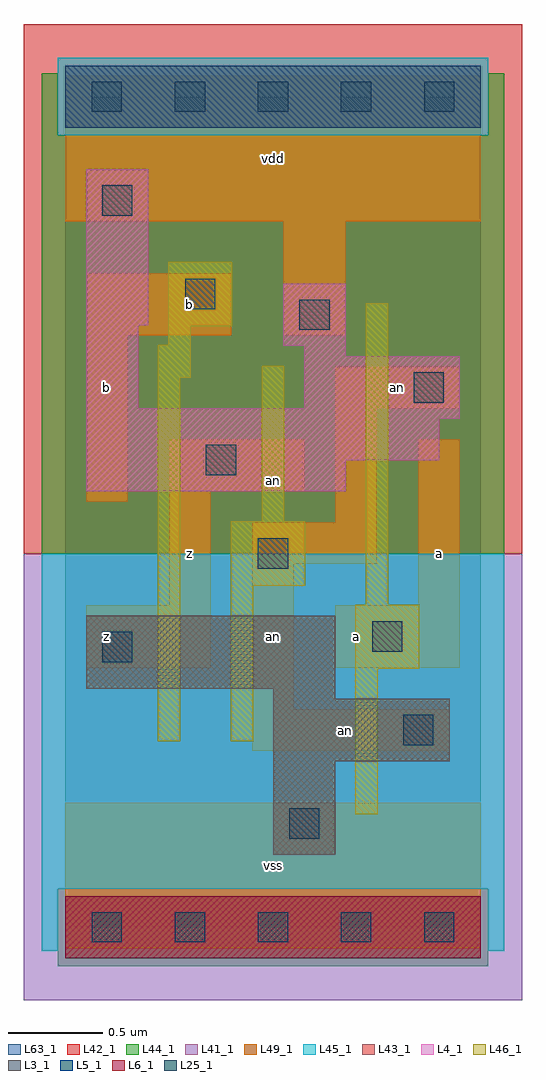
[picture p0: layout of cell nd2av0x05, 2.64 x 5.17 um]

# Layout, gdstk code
import gdstk
lib = gdstk.Library(unit=1e-6, precision=1e-09)
def R(c, l, rs):  # rectangles x0, y0, x1, y1
    for r in rs: c.add(gdstk.rectangle(r[:2], r[2:], *l))
def A(c, l, x, y, w, h, nx, ny, dx, dy):  # array of equal rectangles
    R(c, l, [(x+i*dx, y+j*dy, x+i*dx+w, y+j*dy+h) for i in range(nx) for j in range(ny)])
L3_1 = (3, 1)
L4_1 = (4, 1)
L5_1 = (5, 1)
L6_1 = (6, 1)
L25_1 = (25, 1)
L41_1 = (41, 1)
L42_1 = (42, 1)
L43_1 = (43, 1)
L44_1 = (44, 1)
L45_1 = (45, 1)
L46_1 = (46, 1)
L49_1 = (49, 1)
L63_1 = (63, 1)

nd2av0x05 = lib.new_cell('nd2av0x05')
R(nd2av0x05, L3_1, [(1.1,0.385,1.43,0.88), (1.1,0.88,2.035,1.21), (1.1,1.21,1.43,1.265), (0.11,1.265,1.43,1.65)])
R(nd2av0x05, L4_1, [(0.11,2.31,1.485,2.475), (0.11,2.475,1.98,2.695), (0.11,2.695,2.09,2.75), (0.11,2.75,0.385,3.19), (1.265,2.75,2.09,3.025), (1.265,3.025,1.485,3.08), (1.155,3.08,1.485,3.41), (0.11,3.19,0.44,4.015)])
R(nd2av0x05, L5_1, [(0,4.235,2.2,4.565)])
R(nd2av0x05, L6_1, [(0,-0.165,2.2,0.165)])
A(nd2av0x05, L25_1, 0.14, -0.08, 0.16, 0.16, 5, 2, 0.44, 4.4)
R(nd2av0x05, L25_1, [(1.185,0.47,1.345,0.63), (1.79,0.965,1.95,1.125), (0.195,1.405,0.355,1.565), (1.625,1.46,1.785,1.62), (1.02,1.9,1.18,2.06), (0.745,2.395,0.905,2.555), (1.845,2.78,2.005,2.94), (1.24,3.165,1.4,3.325), (0.635,3.275,0.795,3.435), (0.195,3.77,0.355,3.93)])
R(nd2av0x05, L41_1, [(-0.22,-0.385,2.42,1.98)])
R(nd2av0x05, L42_1, [(-0.22,1.98,2.42,4.785)])
R(nd2av0x05, L43_1, [(0,-0.165,2.2,0.165), (1.1,0.385,1.43,0.88), (1.1,0.88,2.035,1.21), (1.1,1.21,1.43,1.265), (0.11,1.265,1.43,1.65), (0.11,2.31,1.485,2.475), (0.11,2.475,1.98,2.695), (0.11,2.695,2.09,2.75), (0.11,2.75,0.385,3.19), (1.265,2.75,2.09,3.025), (1.265,3.025,1.485,3.08), (1.155,3.08,1.485,3.41), (0.11,3.19,0.44,4.015), (0,4.235,2.2,4.565)])
R(nd2av0x05, L44_1, [(-0.04,-0.205,2.24,0.205), (-0.125,1.98,2.325,4.195), (-0.125,4.195,-0.04,4.525), (2.24,4.195,2.325,4.525)])
R(nd2av0x05, L45_1, [(-0.125,-0.125,-0.04,0.205), (2.24,-0.125,2.325,0.205), (-0.125,0.205,2.325,1.98), (-0.04,4.195,2.24,4.605)])
R(nd2av0x05, L46_1, [(1.535,0.6,1.655,1.37), (0.49,0.985,0.61,2.91), (0.875,0.985,0.995,1.81), (1.535,1.37,1.875,1.71), (1.59,1.71,1.71,3.305), (0.875,1.81,1.27,2.15), (1.04,2.15,1.16,2.975), (0.49,2.91,0.665,3.085), (0.545,3.085,0.665,3.185), (0.545,3.185,0.885,3.525)])
R(nd2av0x05, L49_1, [(0,-0.11,2.2,0.66), (0.99,0.935,2.035,1.155), (0.99,1.155,1.21,1.925), (0.11,1.375,0.77,1.705), (1.43,1.375,2.09,1.705), (0.55,1.705,0.77,2.31), (1.87,1.705,2.09,2.585), (0.99,1.925,1.65,2.145), (1.43,2.145,1.65,2.75), (0.11,2.255,0.33,3.135), (0.55,2.31,1.265,2.585), (1.43,2.75,2.09,2.97), (0.11,3.135,0.88,3.465), (1.155,3.135,1.485,3.74), (0,3.74,2.2,4.51)])
R(nd2av0x05, L63_1, [(0,0,2.2,4.4)])
nd2av0x05.add(gdstk.Label('an', (1.1,2.365), layer=46, texttype=1))
nd2av0x05.add(gdstk.Label('z', (0.22,1.54), layer=49, texttype=1))
nd2av0x05.add(gdstk.Label('b', (0.22,2.86), layer=49, texttype=1))
nd2av0x05.add(gdstk.Label('z', (0.66,1.98), layer=49, texttype=1))
nd2av0x05.add(gdstk.Label('b', (0.66,3.3), layer=49, texttype=1))
nd2av0x05.add(gdstk.Label('vss', (1.1,0.33), layer=49, texttype=1))
nd2av0x05.add(gdstk.Label('an', (1.1,1.54), layer=49, texttype=1))
nd2av0x05.add(gdstk.Label('a', (1.54,1.54), layer=49, texttype=1))
nd2av0x05.add(gdstk.Label('z', (1.1,2.42), layer=49, texttype=1))
nd2av0x05.add(gdstk.Label('vdd', (1.1,4.07), layer=49, texttype=1))
nd2av0x05.add(gdstk.Label('an', (1.485,1.045), layer=49, texttype=1))
nd2av0x05.add(gdstk.Label('a', (1.98,1.98), layer=49, texttype=1))
nd2av0x05.add(gdstk.Label('an', (1.76,2.86), layer=49, texttype=1))

lib.write_gds('nd2av0x05.gds')
